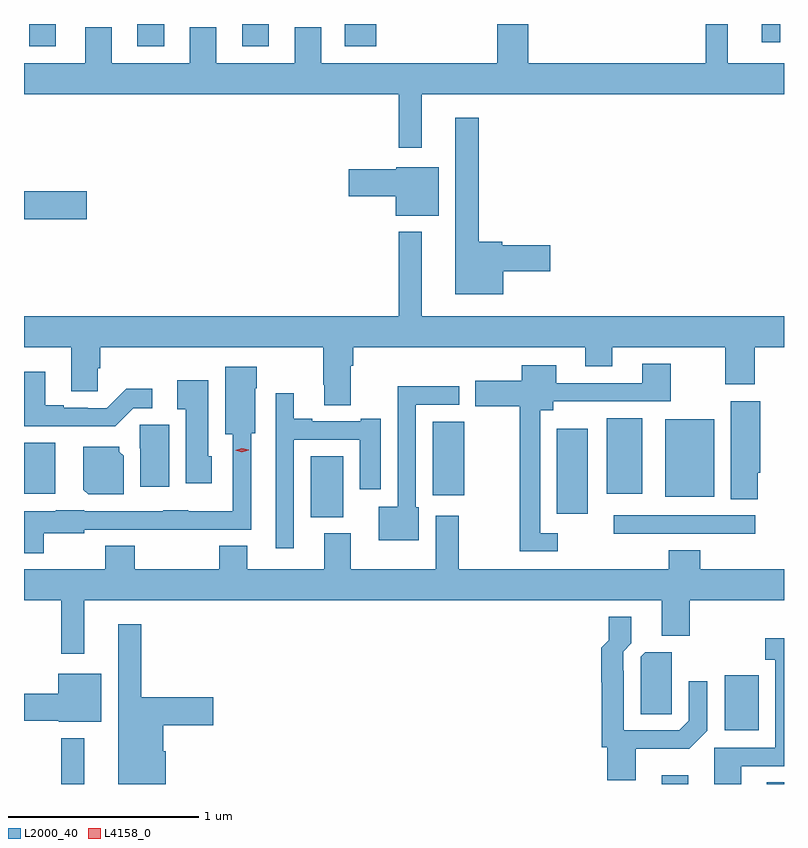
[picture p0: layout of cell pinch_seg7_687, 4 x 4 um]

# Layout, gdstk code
import gdstk
lib = gdstk.Library(unit=1e-6, precision=1e-09)
def R(c, l, rs):  # rectangles x0, y0, x1, y1
    for r in rs: c.add(gdstk.rectangle(r[:2], r[2:], *l))
def P(c, l, *ps):  # polygons
    for p in ps: c.add(gdstk.Polygon(p, *l))
L2000_40 = (2000, 40)
L4158_0 = (4158, 0)

pinch_seg7_687 = lib.new_cell('pinch_seg7_687')
R(pinch_seg7_687, L2000_40, [(315.894,1018.298,316.015,1018.54), (319.055,1018.298,319.195,1018.345), (319.607,1018.298,319.698,1018.307), (319.385,1018.58,319.564,1018.87), (318.801,1019.616,319.546,1019.712), (317.207,1019.702,317.377,1020.022), (318.503,1019.721,318.664,1020.169), (319.073,1019.81,319.33,1020.217), (317.849,1019.819,318.016,1020.205), (315.698,1019.825,315.862,1020.094), (318.764,1019.825,318.952,1020.223), (315.698,1021.271,316.027,1021.418), (315.725,1022.181,315.865,1022.298), (316.295,1022.181,316.435,1022.298), (316.847,1022.181,316.987,1022.298), (317.387,1022.181,317.552,1022.298), (319.58,1022.202,319.677,1022.298)])
P(pinch_seg7_687, L2000_40, [(317.791,1021.928),(319.698,1021.928),(319.698,1022.092),(319.403,1022.092),(319.403,1022.298),(319.285,1022.298),(319.285,1022.092),(318.352,1022.092),(318.352,1022.298),(318.188,1022.298),(318.188,1022.092),(317.263,1022.092),(317.263,1022.282),(317.123,1022.282),(317.123,1022.092),(316.711,1022.092),(316.711,1022.282),(316.571,1022.282),(316.571,1022.092),(316.159,1022.092),(316.159,1022.282),(316.02,1022.282),(316.02,1022.092),(315.698,1022.092),(315.698,1021.928),(317.67,1021.928),(317.67,1021.647),(317.791,1021.647)],
  [(318.22,1020.998),(318.469,1020.998),(318.469,1021.133),(318.216,1021.133),(318.216,1021.151),(318.091,1021.151),(318.091,1021.804),(317.969,1021.804),(317.969,1020.875),(318.22,1020.875)],
  [(317.881,1021.543),(317.658,1021.543),(317.658,1021.533),(317.406,1021.533),(317.406,1021.391),(317.654,1021.391),(317.654,1021.289),(317.881,1021.289)],
  [(317.419,1020.5),(317.432,1020.5),(317.432,1020.596),(318.653,1020.596),(318.653,1020.497),(318.793,1020.497),(318.793,1020.596),(319.39,1020.596),(319.39,1020.402),(319.545,1020.402),(319.545,1020.596),(319.698,1020.596),(319.698,1020.76),(317.791,1020.76),(317.791,1021.204),(317.67,1021.204),(317.67,1020.76),(315.698,1020.76),(315.698,1020.596),(315.947,1020.596),(315.947,1020.364),(316.086,1020.364),(316.086,1020.486),(316.1,1020.486),(316.1,1020.596),(317.272,1020.596),(317.272,1020.4),(317.279,1020.4),(317.279,1020.292),(317.419,1020.292)],
  [(318.508,1019.619),(318.414,1019.619),(318.414,1020.266),(318.484,1020.266),(318.484,1020.312),(319.101,1020.312),(319.101,1020.511),(318.953,1020.511),(318.953,1020.408),(318.499,1020.408),(318.499,1020.502),(318.317,1020.502),(318.317,1020.421),(318.073,1020.421),(318.073,1020.287),(318.306,1020.287),(318.306,1019.523),(318.508,1019.523)],
  [(315.802,1019.618),(316.014,1019.618),(316.014,1019.637),(316.431,1019.637),(316.431,1019.636),(316.663,1019.636),(316.663,1019.637),(316.893,1019.637),(316.893,1020.144),(316.915,1020.144),(316.915,1020.38),(316.923,1020.38),(316.923,1020.493),(316.757,1020.493),(316.757,1020.14),(316.797,1020.14),(316.797,1019.734),(316.563,1019.734),(316.563,1019.74),(316.431,1019.74),(316.431,1019.733),(316.014,1019.733),(316.014,1019.74),(315.864,1019.74),(315.864,1019.734),(315.698,1019.734),(315.698,1019.513),(315.802,1019.513)],
  [(316.272,1020.276),(316.372,1020.276),(316.372,1020.379),(316.237,1020.379),(316.134,1020.276),(316.034,1020.276),(316.034,1020.279),(315.907,1020.279),(315.907,1020.292),(315.811,1020.292),(315.811,1020.469),(315.698,1020.469),(315.698,1020.182),(316.178,1020.182)],
  [(316.687,1020.024),(316.669,1020.024),(316.669,1020.424),(316.505,1020.424),(316.505,1020.27),(316.55,1020.27),(316.55,1019.88),(316.687,1019.88)],
  [(317.776,1019.754),(317.76,1019.754),(317.76,1020.294),(317.988,1020.294),(317.988,1020.392),(317.664,1020.392),(317.664,1019.758),(317.564,1019.758),(317.564,1019.582),(317.776,1019.582)],
  [(317.118,1020.111),(317.465,1020.111),(317.465,1019.85),(317.575,1019.85),(317.575,1020.22),(317.471,1020.22),(317.471,1020.207),(317.215,1020.207),(317.215,1020.22),(317.119,1020.22),(317.119,1020.355),(317.022,1020.355),(317.022,1019.538),(317.118,1019.538)],
  [(319.56,1019.937),(319.573,1019.937),(319.573,1020.313),(319.418,1020.313),(319.418,1019.797),(319.56,1019.797)],
  [(316.462,1020.189),(316.306,1020.189),(316.306,1020.066),(316.31,1020.066),(316.31,1019.862),(316.462,1019.862)],
  [(316.222,1020.026),(316.2,1020.048),(316.2,1020.073),(316.01,1020.073),(316.01,1019.848),(316.036,1019.822),(316.222,1019.822)],
  [(316.015,1019.264),(319.055,1019.264),(319.055,1019.077),(319.203,1019.077),(319.203,1019.264),(319.698,1019.264),(319.698,1019.428),(319.256,1019.428),(319.256,1019.527),(319.091,1019.527),(319.091,1019.428),(317.985,1019.428),(317.985,1019.71),(317.864,1019.71),(317.864,1019.428),(317.419,1019.428),(317.419,1019.617),(317.279,1019.617),(317.279,1019.428),(316.873,1019.428),(316.873,1019.552),(316.726,1019.552),(316.726,1019.428),(316.281,1019.428),(316.281,1019.552),(316.126,1019.552),(316.126,1019.428),(315.698,1019.428),(315.698,1019.264),(315.894,1019.264),(315.894,1018.983),(316.015,1018.983)],
  [(318.919,1018.484),(319.199,1018.484),(319.293,1018.578),(319.293,1018.84),(319.197,1018.84),(319.197,1018.632),(319.146,1018.581),(318.855,1018.581),(318.855,1018.895),(318.852,1018.895),(318.852,1018.995),(318.895,1019.038),(318.895,1019.179),(318.775,1019.179),(318.775,1019.055),(318.737,1019.016),(318.737,1018.834),(318.739,1018.834),(318.739,1018.491),(318.767,1018.491),(318.767,1018.317),(318.919,1018.317)],
  [(316.444,1018.47),(316.432,1018.47),(316.432,1018.607),(316.693,1018.607),(316.693,1018.754),(316.315,1018.754),(316.315,1019.14),(316.193,1019.14),(316.193,1018.298),(316.444,1018.298)],
  [(319.474,1018.392),(319.698,1018.392),(319.698,1019.065),(319.599,1019.065),(319.599,1018.952),(319.652,1018.952),(319.652,1018.488),(319.331,1018.488),(319.331,1018.298),(319.474,1018.298)],
  [(319.107,1018.777),(319.108,1018.777),(319.108,1018.992),(318.969,1018.992),(318.945,1018.968),(318.945,1018.666),(319.107,1018.666)],
  [(316.105,1018.879),(315.878,1018.879),(315.878,1018.773),(315.698,1018.773),(315.698,1018.631),(315.882,1018.631),(315.882,1018.625),(316.105,1018.625)])
P(pinch_seg7_687, L4158_0, [(316.845,1020.045),(316.809,1020.054),(316.809,1020.054),(316.809,1020.054),(316.845,1020.065),(316.881,1020.056),(316.881,1020.056),(316.881,1020.055)])

lib.write_gds('pinch_seg7_687.gds')
